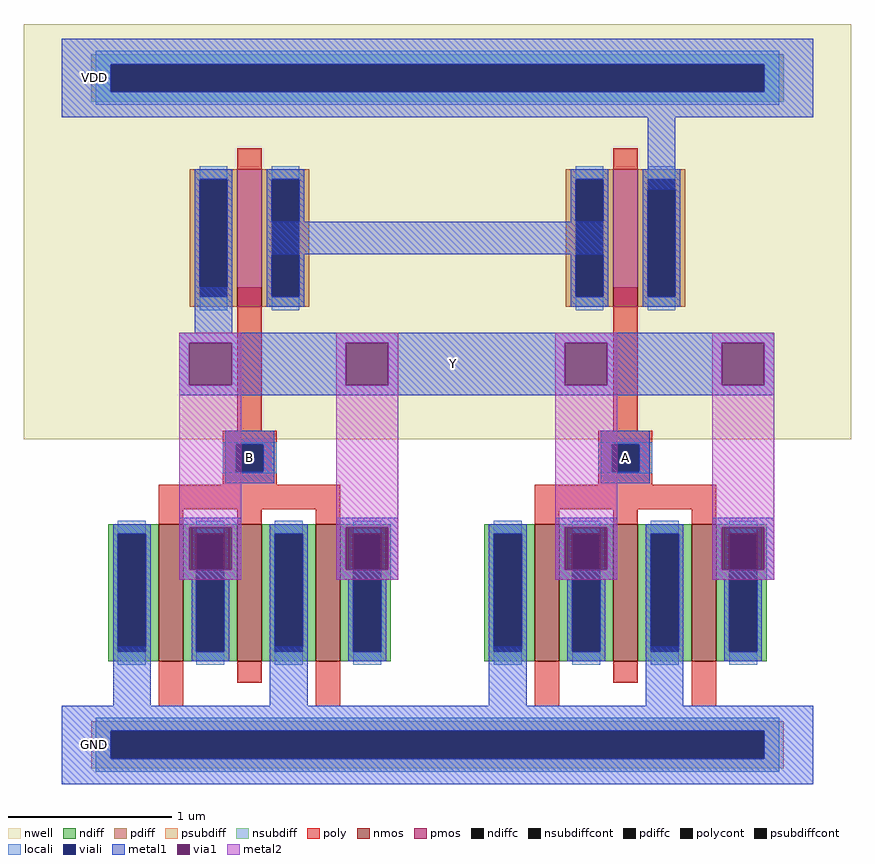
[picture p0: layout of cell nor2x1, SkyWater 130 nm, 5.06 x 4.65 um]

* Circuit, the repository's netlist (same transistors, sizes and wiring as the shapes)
** sch_path: /foss/designs/nor2x1.sch
.subckt nor2x1 A B VDD GND Y
*.PININFO A:I B:I VDD:B GND:B Y:O
XM1 Y A GND GND sky130_fd_pr__nfet_01v8 L=0.15 W=2.52 nf=3
XM3 net1 A VDD VDD sky130_fd_pr__pfet_01v8 L=0.15 W=0.84 nf=1
XM4 Y B net1 VDD sky130_fd_pr__pfet_01v8 L=0.15 W=0.84 nf=1
XM2 Y B GND GND sky130_fd_pr__nfet_01v8 L=0.15 W=2.52 nf=3
.ends

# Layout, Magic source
magic
tech sky130A
magscale 1 2
<< nwell >>
rect -46 374 966 882
<< psubdiff >>
rect 36 17 884 29
rect 36 -17 60 17
rect 860 -17 884 17
rect 36 -29 884 -17
<< nsubdiff >>
rect 36 833 884 845
rect 36 799 60 833
rect 860 799 884 833
rect 36 787 884 799
<< psubdiffcont >>
rect 60 -17 860 17
<< nsubdiffcont >>
rect 60 799 860 833
<< poly >>
rect 215 384 245 560
rect 675 384 705 560
rect 197 368 263 384
rect 197 334 213 368
rect 247 334 263 368
rect 197 318 263 334
rect 657 368 723 384
rect 657 334 673 368
rect 707 334 723 368
rect 657 318 723 334
rect 119 288 341 318
rect 579 288 801 318
<< polycont >>
rect 213 334 247 368
rect 673 334 707 368
<< locali >>
rect 42 833 878 849
rect 42 799 60 833
rect 860 799 878 833
rect 42 783 878 799
rect 197 368 263 370
rect 197 334 213 368
rect 247 334 263 368
rect 197 332 263 334
rect 657 368 723 370
rect 657 334 673 368
rect 707 334 723 368
rect 657 332 723 334
rect 42 17 878 33
rect 42 -17 60 17
rect 860 -17 878 17
rect 42 -33 878 -17
<< viali >>
rect 60 799 860 833
rect 213 334 247 368
rect 673 334 707 368
rect 60 -17 860 17
<< metal1 >>
rect 0 833 920 864
rect 0 799 60 833
rect 860 799 920 833
rect 0 768 920 799
rect 717 680 751 768
rect 251 600 669 640
rect 163 504 209 560
rect 144 492 872 504
rect 144 440 156 492
rect 208 440 348 492
rect 400 440 616 492
rect 668 440 808 492
rect 860 440 872 492
rect 144 428 872 440
rect 200 368 260 384
rect 200 334 213 368
rect 247 334 260 368
rect 200 320 260 334
rect 660 368 720 384
rect 660 334 673 368
rect 707 334 720 368
rect 660 320 720 334
rect 144 266 220 278
rect 144 214 156 266
rect 208 214 220 266
rect 144 202 220 214
rect 336 266 412 278
rect 336 214 348 266
rect 400 214 412 266
rect 336 202 412 214
rect 604 266 680 278
rect 604 214 616 266
rect 668 214 680 266
rect 604 202 680 214
rect 796 266 872 278
rect 796 214 808 266
rect 860 214 872 266
rect 796 202 872 214
rect 63 48 109 120
rect 255 48 301 120
rect 523 48 569 120
rect 715 48 761 120
rect 0 17 920 48
rect 0 -17 60 17
rect 860 -17 920 17
rect 0 -48 920 -17
<< via1 >>
rect 156 440 208 492
rect 348 440 400 492
rect 616 440 668 492
rect 808 440 860 492
rect 156 214 208 266
rect 348 214 400 266
rect 616 214 668 266
rect 808 214 860 266
<< metal2 >>
rect 144 492 220 504
rect 144 440 156 492
rect 208 440 220 492
rect 144 266 220 440
rect 144 214 156 266
rect 208 214 220 266
rect 144 202 220 214
rect 336 492 412 504
rect 336 440 348 492
rect 400 440 412 492
rect 336 266 412 440
rect 336 214 348 266
rect 400 214 412 266
rect 336 202 412 214
rect 604 492 680 504
rect 604 440 616 492
rect 668 440 680 492
rect 604 266 680 440
rect 604 214 616 266
rect 668 214 680 266
rect 604 202 680 214
rect 796 492 872 504
rect 796 440 808 492
rect 860 440 872 492
rect 796 266 872 440
rect 796 214 808 266
rect 860 214 872 266
rect 796 202 872 214
use sky130_fd_pr__nfet_01v8_RPKUUV  xna
transform 1 0 690 0 1 186
box -173 -139 173 139
use sky130_fd_pr__nfet_01v8_RPKUUV  xnb
transform 1 0 230 0 1 186
box -173 -139 173 139
use sky130_fd_pr__pfet_01v8_W5J8BK  xpa
transform 1 0 690 0 1 620
box -109 -146 109 146
use sky130_fd_pr__pfet_01v8_W5J8BK  xpb
transform 1 0 230 0 1 620
box -109 -146 109 146
<< labels >>
rlabel metal1 200 320 260 384 0 B
port 1 nsew
rlabel metal1 660 320 720 384 0 A
port 2 nsew
rlabel metal1 440 440 520 492 0 Y
port 3 nsew
rlabel metal1 10 780 70 852 0 VDD
port 4 nsew
rlabel metal1 10 -36 70 36 0 GND
port 5 nsew
<< properties >>
string FIXED_BBOX 0 0 920 816
<< end >>

# cell sky130_fd_pr__nfet_01v8_RPKUUV: kit device sky130_fd_pr__nfet_01v8, w 0.84 l 0.15 m 1 nf 3 diffcov 100 polycov 100 guard 0 glc 1 grc 1 gtc 1 gbc 1 tbcov 100 rlcov 100 topc 0 botc 0 poverlap 0 doverlap 1 lmin 0.15 wmin 0.42 class mosfet compatible {sky130_fd_pr__nfet_01v8 sky130_fd_pr__nfet_01v8_lvt sky130_fd_bs_flash__special_sonosfet_star sky130_fd_pr__nfet_g5v0d10v5 sky130_fd_pr__nfet_05v0_nvt sky130_fd_pr__nfet_03v3_nvt} full_metal 1 conn_gates 0 viasrc 100 viadrn 100 viagate 100 viagb 0 viagr 0 viagl 0 viagt 0 doports 1

# cell sky130_fd_pr__pfet_01v8_W5J8BK: kit device sky130_fd_pr__pfet_01v8, w 0.84 l 0.15 m 1 nf 1 diffcov 100 polycov 100 guard 0 glc 1 grc 1 gtc 1 gbc 1 tbcov 100 rlcov 100 topc 0 botc 0 poverlap 0 doverlap 1 lmin 0.15 wmin 0.42 class mosfet compatible {sky130_fd_pr__pfet_01v8 sky130_fd_pr__pfet_01v8_lvt sky130_fd_pr__pfet_01v8_hvt sky130_fd_pr__pfet_g5v0d10v5} full_metal 1 conn_gates 0 viasrc 100 viadrn 100 viagate 100 viagb 0 viagr 0 viagl 0 viagt 0 doports 1
